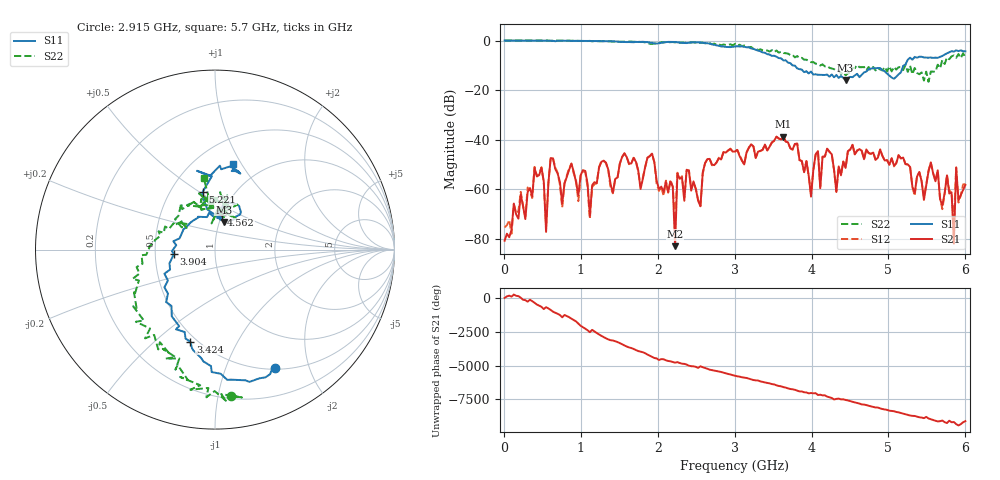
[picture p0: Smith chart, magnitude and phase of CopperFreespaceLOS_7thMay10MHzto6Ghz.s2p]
!  07/05/2026  19:26:44
! Ref Plane: 0.000 mm
# MHZ S MA R  50
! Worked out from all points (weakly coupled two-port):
!   201 points, 10 MHz to 6 GHz, reference 50 ohm
!   highest |S21| = -38.73 dB at 3.634 GHz (marker M1); lowest = -82.9 dB at 2.226 GHz (marker M2)
!   lowest |S11| = -15.9 dB at 4.443 GHz (marker M3), VSWR 1.38, Z = 52.5 + j16.5 ohm
!   |S11| at or under -10 dB: 3.752 GHz to 5.203 GHz (1.451 GHz wide, 32.4 % of centre)
!   |S22| runs from -16.6 to 0.0 dB; largest |S21 - S12| = 0.00036
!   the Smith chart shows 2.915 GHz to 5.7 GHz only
!   S11 on the Smith chart (normalised r, x): 2.915 GHz: 0.51, -1.50; 3.424 GHz: 0.46, -0.66; 3.904 GHz: 0.63, -0.03; 4.562 GHz: 0.99, +0.40; 5.221 GHz: 0.72, +0.52; 5.7 GHz: 0.73, +0.92
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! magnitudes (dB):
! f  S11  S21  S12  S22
! 10 MHz  0.0  -80.7  -75.4  0.0
! 399.4 MHz  0.0  -51.4  -50.9  0.0
! 549.1 MHz  -0.1  -77.2  -74.7  0.0
! 1.028 GHz  -0.2  -52.2  -52.8  -0.2
! 1.118 GHz  -0.2  -70.7  -72.0  -0.1
! 1.268 GHz  -0.3  -48.9  -48.7  -0.3
! 2.017 GHz  -1.1  -59.8  -60.6  -1.0
! 2.196 GHz  -0.6  -58.9  -59.0  -0.6
! 2.226 GHz  -0.6  -82.9  -72.7  -0.7
! 2.256 GHz  -0.7  -53.7  -53.3  -0.6
! 2.915 GHz  -2.6  -44.3  -44.4  -1.7
! 3.005 GHz  -2.4  -44.7  -44.8  -1.4
! 3.424 GHz  -5.5  -44.4  -44.2  -4.0
! 3.634 GHz  -8.0  -38.7  -38.7  -5.0
! 3.904 GHz  -12.7  -53.1  -52.9  -7.7
! 4.023 GHz  -13.7  -52.2  -52.2  -8.7
! 4.443 GHz  -15.9  -51.4  -51.3  -14.0
! 4.562 GHz  -14.1  -45.8  -45.9  -11.1
! 5.012 GHz  -14.1  -50.0  -50.1  -10.4
! 5.221 GHz  -9.6  -49.8  -49.8  -9.9
! 5.7 GHz  -6.2  -66.5  -68.0  -7.9
! 6 GHz  -4.4  -58.2  -57.9  -6.9
